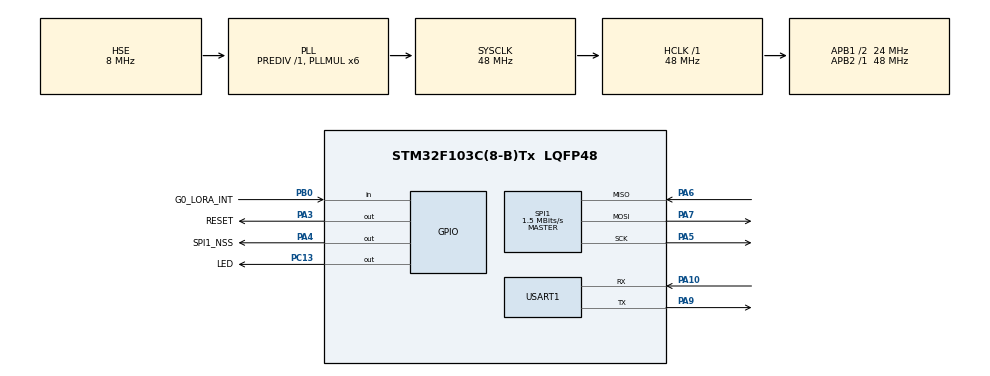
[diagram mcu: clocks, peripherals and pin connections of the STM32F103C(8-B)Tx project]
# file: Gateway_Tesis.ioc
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Mcu.Family=STM32F1
Mcu.Name=STM32F103C(8-B)Tx
Mcu.Package=LQFP48
NVIC.PriorityGroup=NVIC_PRIORITYGROUP_4
PA10.Mode=Asynchronous
PA10.Signal=USART1_RX
PA13.Mode=Serial_Wire
PA13.Signal=SYS_JTMS-SWDIO
PA14.Mode=Serial_Wire
PA14.Signal=SYS_JTCK-SWCLK
PA3.GPIO_Label=RESET
PA3.PinState=GPIO_PIN_SET
PA3.Signal=GPIO_Output
PA4.GPIO_Label=SPI1_NSS
PA4.PinState=GPIO_PIN_SET
PA4.Signal=GPIO_Output
PA5.Mode=Full_Duplex_Master
PA5.Signal=SPI1_SCK
PA6.Mode=Full_Duplex_Master
PA6.Signal=SPI1_MISO
PA7.Mode=Full_Duplex_Master
PA7.Signal=SPI1_MOSI
PA9.Mode=Asynchronous
PA9.Signal=USART1_TX
PB0.GPIO_Label=G0_LORA_INT
PB0.Signal=GPIO_Input
PC13-TAMPER-RTC.GPIO_Label=LED
PC13-TAMPER-RTC.PinState=GPIO_PIN_SET
PC13-TAMPER-RTC.Signal=GPIO_Output
PD0-OSC_IN.Mode=HSE-External-Oscillator
PD0-OSC_IN.Signal=RCC_OSC_IN
PD1-OSC_OUT.Mode=HSE-External-Oscillator
PD1-OSC_OUT.Signal=RCC_OSC_OUT
ProjectManager.HeapSize=0x200
ProjectManager.StackSize=0x400
ProjectManager.TargetToolchain=STM32CubeIDE
RCC.AHBFreq_Value=48000000
RCC.APB1CLKDivider=RCC_HCLK_DIV2
RCC.APB1Freq_Value=24000000
RCC.APB1TimFreq_Value=48000000
RCC.APB2Freq_Value=48000000
RCC.APB2TimFreq_Value=48000000
RCC.HCLKFreq_Value=48000000
RCC.PLLMUL=RCC_PLL_MUL6
RCC.PLLSourceVirtual=RCC_PLLSOURCE_HSE
RCC.SYSCLKFreq_VALUE=48000000
RCC.SYSCLKSource=RCC_SYSCLKSOURCE_PLLCLK
RCC.USBFreq_Value=48000000
SPI1.BaudRatePrescaler=SPI_BAUDRATEPRESCALER_32
SPI1.CalculateBaudRate=1.5 MBits/s
SPI1.Direction=SPI_DIRECTION_2LINES
SPI1.Mode=SPI_MODE_MASTER
SPI1.VirtualType=VM_MASTER
USART1.VirtualMode=VM_ASYNC
board=custom

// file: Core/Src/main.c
/* USER CODE BEGIN Header */
/**
  ******************************************************************************
  * @file           : main.c
  * @brief          : Main program body
  ******************************************************************************
  * @attention
  *
  * Copyright (c) 2022 STMicroelectronics.
  * All rights reserved.
  *
  * This software is licensed under terms that can be found in the LICENSE file
  * in the root directory of this software component.
  * If no LICENSE file comes with this software, it is provided AS-IS.
  *
  ******************************************************************************
  */
/* USER CODE END Header */
#include "main.h"

/* USER CODE BEGIN Includes */
#include <stdbool.h>
#include <string.h>
#include <stdio.h>
#include "rfm95.h"
/* USER CODE END Includes */

SPI_HandleTypeDef hspi1;

UART_HandleTypeDef huart1;

/* USER CODE BEGIN PV */
uint8_t buf[50];
uint8_t uart_buf[50];
uint8_t temp, hum, monoxido_temp1, monoxido_temp2;
uint8_t verificador1, verificador2;
uint16_t CO;
int RSSI = 0;
float SNR = 0;
uint8_t contador = 0;

rfm95_handle_t rfm95_handle = {
    .spi_handle = &hspi1,
    .nss_port = SPI1_NSS_GPIO_Port,
    .nss_pin = SPI1_NSS_Pin,
    .nrst_port = RESET_GPIO_Port,
    .nrst_pin = RESET_Pin,
};
/* USER CODE END PV */

void SystemClock_Config(void);
static void MX_GPIO_Init(void);
static void MX_SPI1_Init(void);
static void MX_USART1_UART_Init(void);
/* USER CODE BEGIN PFP */
void umbral_temperatura(uint8_t temperatura);
void umbral_humedad(uint8_t humedad);
void umbral_monoxido(uint16_t monoxido);
void contador_update(void);
/* USER CODE END PFP */

int main(void)
{

  /* MCU Configuration--------------------------------------------------------*/

  /* Reset of all peripherals, Initializes the Flash interface and the Systick. */
  HAL_Init();

  /* Configure the system clock */
  SystemClock_Config();

  /* Initialize all configured peripherals */
  MX_GPIO_Init();
  MX_SPI1_Init();
  MX_USART1_UART_Init();
  /* USER CODE BEGIN 2 */
  do{
	  //Inicializar modulo LoRa
	  if(rfm95_init(&rfm95_handle)){
		  HAL_GPIO_WritePin(LED_GPIO_Port, LED_Pin, GPIO_PIN_RESET);
		  HAL_GPIO_WritePin(LED_GPIO_Port, LED_Pin, GPIO_PIN_SET);
		  sprintf((char*)uart_buf, "Modulo LoRa Inicializado\n");
		  HAL_UART_Transmit(&huart1, uart_buf, strlen((char*)uart_buf), HAL_MAX_DELAY);
		  verificador1 = 1;
		  verificador2 = 1;
	  }
	  else{
		  rfm95_reset(&rfm95_handle);
	  }
  }
  while(!verificador1);
  /* USER CODE END 2 */

  /* Infinite loop */
  /* USER CODE BEGIN WHILE */
  while (verificador2 == 1)
  {
	  // Recibir los datos por LoRa
	  rfm95_receive_package(&rfm95_handle, &temp, &hum, &monoxido_temp1, &monoxido_temp2, RSSI, SNR);
	  // Validation message
	  CO = (monoxido_temp1 << 8) | monoxido_temp2;
	  sprintf((char*)uart_buf, "Conexion exitosa\n");
	  HAL_UART_Transmit(&huart1, uart_buf, strlen((char*)uart_buf), HAL_MAX_DELAY);

	  //Comparacion de los datos con umbrales
	  umbral_temperatura(temp);
	  umbral_humedad(hum);
	  umbral_monoxido(CO);
	  contador_update();
	  //sprintf((char*)uart_buf, "Temperatura: %u C, Humedad: %u HR, %u PPM \n", temp, hum, CO);
	  //HAL_UART_Transmit(&huart1, uart_buf, strlen((char*)uart_buf), HAL_MAX_DELAY);
	  //sprintf((char*)uart_buf, "SNR: %.2f C, RSSI: %i  \n", SNR, RSSI);
	  //HAL_UART_Transmit(&huart1, uart_buf, strlen((char*)uart_buf), HAL_MAX_DELAY);
	  temp = 0;
	  hum = 0;
	  CO = 0;
	  monoxido_temp1 = 0;
	  monoxido_temp2 = 0;
	  contador = 0;
    /* USER CODE END WHILE */

  }
}

void SystemClock_Config(void)
{
  RCC_OscInitTypeDef RCC_OscInitStruct = {0};
  RCC_ClkInitTypeDef RCC_ClkInitStruct = {0};

  /** Initializes the RCC Oscillators according to the specified parameters
  * in the RCC_OscInitTypeDef structure.
  */
  RCC_OscInitStruct.OscillatorType = RCC_OSCILLATORTYPE_HSE;
  RCC_OscInitStruct.HSEState = RCC_HSE_ON;
  RCC_OscInitStruct.HSEPredivValue = RCC_HSE_PREDIV_DIV1;
  RCC_OscInitStruct.HSIState = RCC_HSI_ON;
  RCC_OscInitStruct.PLL.PLLState = RCC_PLL_ON;
  RCC_OscInitStruct.PLL.PLLSource = RCC_PLLSOURCE_HSE;
  RCC_OscInitStruct.PLL.PLLMUL = RCC_PLL_MUL6;
  if (HAL_RCC_OscConfig(&RCC_OscInitStruct) != HAL_OK)
  {
    Error_Handler();
  }

  /** Initializes the CPU, AHB and APB buses clocks
  */
  RCC_ClkInitStruct.ClockType = RCC_CLOCKTYPE_HCLK|RCC_CLOCKTYPE_SYSCLK
                              |RCC_CLOCKTYPE_PCLK1|RCC_CLOCKTYPE_PCLK2;
  RCC_ClkInitStruct.SYSCLKSource = RCC_SYSCLKSOURCE_PLLCLK;
  RCC_ClkInitStruct.AHBCLKDivider = RCC_SYSCLK_DIV1;
  RCC_ClkInitStruct.APB1CLKDivider = RCC_HCLK_DIV2;
  RCC_ClkInitStruct.APB2CLKDivider = RCC_HCLK_DIV1;

  if (HAL_RCC_ClockConfig(&RCC_ClkInitStruct, FLASH_LATENCY_1) != HAL_OK)
  {
    Error_Handler();
  }
}

static void MX_SPI1_Init(void)
{

  /* SPI1 parameter configuration*/
  hspi1.Instance = SPI1;
  hspi1.Init.Mode = SPI_MODE_MASTER;
  hspi1.Init.Direction = SPI_DIRECTION_2LINES;
  hspi1.Init.DataSize = SPI_DATASIZE_8BIT;
  hspi1.Init.CLKPolarity = SPI_POLARITY_LOW;
  hspi1.Init.CLKPhase = SPI_PHASE_1EDGE;
  hspi1.Init.NSS = SPI_NSS_SOFT;
  hspi1.Init.BaudRatePrescaler = SPI_BAUDRATEPRESCALER_32;
  hspi1.Init.FirstBit = SPI_FIRSTBIT_MSB;
  hspi1.Init.TIMode = SPI_TIMODE_DISABLE;
  hspi1.Init.CRCCalculation = SPI_CRCCALCULATION_DISABLE;
  hspi1.Init.CRCPolynomial = 10;
  if (HAL_SPI_Init(&hspi1) != HAL_OK)
  {
    Error_Handler();
  }

}

static void MX_USART1_UART_Init(void)
{

  huart1.Instance = USART1;
  huart1.Init.BaudRate = 115200;
  huart1.Init.WordLength = UART_WORDLENGTH_8B;
  huart1.Init.StopBits = UART_STOPBITS_1;
  huart1.Init.Parity = UART_PARITY_NONE;
  huart1.Init.Mode = UART_MODE_TX_RX;
  huart1.Init.HwFlowCtl = UART_HWCONTROL_NONE;
  huart1.Init.OverSampling = UART_OVERSAMPLING_16;
  if (HAL_UART_Init(&huart1) != HAL_OK)
  {
    Error_Handler();
  }

}

static void MX_GPIO_Init(void)
{
  GPIO_InitTypeDef GPIO_InitStruct = {0};

  /* GPIO Ports Clock Enable */
  __HAL_RCC_GPIOC_CLK_ENABLE();
  __HAL_RCC_GPIOD_CLK_ENABLE();
  __HAL_RCC_GPIOA_CLK_ENABLE();
  __HAL_RCC_GPIOB_CLK_ENABLE();

  /*Configure GPIO pin Output Level */
  HAL_GPIO_WritePin(LED_GPIO_Port, LED_Pin, GPIO_PIN_SET);

  /*Configure GPIO pin Output Level */
  HAL_GPIO_WritePin(GPIOA, RESET_Pin|SPI1_NSS_Pin, GPIO_PIN_SET);

  /*Configure GPIO pin : LED_Pin */
  GPIO_InitStruct.Pin = LED_Pin;
  GPIO_InitStruct.Mode = GPIO_MODE_OUTPUT_PP;
  GPIO_InitStruct.Pull = GPIO_NOPULL;
  GPIO_InitStruct.Speed = GPIO_SPEED_FREQ_LOW;
  HAL_GPIO_Init(LED_GPIO_Port, &GPIO_InitStruct);

  /*Configure GPIO pins : RESET_Pin SPI1_NSS_Pin */
  GPIO_InitStruct.Pin = RESET_Pin|SPI1_NSS_Pin;
  GPIO_InitStruct.Mode = GPIO_MODE_OUTPUT_PP;
  GPIO_InitStruct.Pull = GPIO_NOPULL;
  GPIO_InitStruct.Speed = GPIO_SPEED_FREQ_LOW;
  HAL_GPIO_Init(GPIOA, &GPIO_InitStruct);

  /*Configure GPIO pin : G0_LORA_INT_Pin */
  GPIO_InitStruct.Pin = G0_LORA_INT_Pin;
  GPIO_InitStruct.Mode = GPIO_MODE_INPUT;
  GPIO_InitStruct.Pull = GPIO_NOPULL;
  HAL_GPIO_Init(G0_LORA_INT_GPIO_Port, &GPIO_InitStruct);

}

/* USER CODE BEGIN 4 */
void umbral_temperatura(uint8_t temperatura){
	//Comparacion temperatura
	if(37 < temperatura && temperatura < 80){
		sprintf((char*)uart_buf, "Atencion!! Temperatura muy Alta\n");
		HAL_UART_Transmit(&huart1, uart_buf, strlen((char*)uart_buf), HAL_MAX_DELAY);
		contador++;
	}
	else if(temperatura < 10 || temperatura > 80){
		sprintf((char*)uart_buf, "Atencion!! Valor erroneo de temperatura\n");
		HAL_UART_Transmit(&huart1, uart_buf, strlen((char*)uart_buf), HAL_MAX_DELAY);
	}

	else if(10 < temperatura && temperatura < 37){
		sprintf((char*)uart_buf, "Valores normales de temperatura\n");
		HAL_UART_Transmit(&huart1, uart_buf, strlen((char*)uart_buf), HAL_MAX_DELAY);
	}
	sprintf((char*)uart_buf, "Temperatura = %u C\n", temperatura);
	HAL_UART_Transmit(&huart1, uart_buf, strlen((char*)uart_buf), HAL_MAX_DELAY);
}

void umbral_humedad(uint8_t humedad){
	if(5 < humedad && humedad < 20){
		sprintf((char*)uart_buf, "Atencion!! Humedad muy baja\n");
		HAL_UART_Transmit(&huart1, uart_buf, strlen((char*)uart_buf), HAL_MAX_DELAY);
		contador++;
	}
	else if(humedad < 5 || humedad > 95){
		sprintf((char*)uart_buf, "Atencion!! Valor erroneo de humedad\n");
		HAL_UART_Transmit(&huart1, uart_buf, strlen((char*)uart_buf), HAL_MAX_DELAY);
	}
	else if(20 < humedad && humedad < 95){
		sprintf((char*)uart_buf, "Valores normales de humedad\n");
		HAL_UART_Transmit(&huart1, uart_buf, strlen((char*)uart_buf), HAL_MAX_DELAY);
	}
	sprintf((char*)uart_buf, "Humedad = %u HR\n", humedad);
	HAL_UART_Transmit(&huart1, uart_buf, strlen((char*)uart_buf), HAL_MAX_DELAY);
}

void umbral_monoxido(uint16_t monoxido){
	if(800 < monoxido && monoxido < 7000){
		sprintf((char*)uart_buf, "Atencion!! Valores de CO muy altos\n");
		HAL_UART_Transmit(&huart1, uart_buf, strlen((char*)uart_buf), HAL_MAX_DELAY);
		contador += 2;
	}
	else if(monoxido > 7000){
		sprintf((char*)uart_buf, "Atencion!! Valor erroneos de CO\n");
		HAL_UART_Transmit(&huart1, uart_buf, strlen((char*)uart_buf), HAL_MAX_DELAY);
	}
	else if(0 <= monoxido && monoxido < 800){
		sprintf((char*)uart_buf, "Valores normales de CO\n");
		HAL_UART_Transmit(&huart1, uart_buf, strlen((char*)uart_buf), HAL_MAX_DELAY);
	}
	sprintf((char*)uart_buf, "CO = %u PPM\n", monoxido);
	HAL_UART_Transmit(&huart1, uart_buf, strlen((char*)uart_buf), HAL_MAX_DELAY);
}

void contador_update(void){
	switch(contador){
	case 1:
		sprintf((char*)uart_buf, "Existe un bajo riesgo de incendio\n");
		HAL_UART_Transmit(&huart1, uart_buf, strlen((char*)uart_buf), HAL_MAX_DELAY);
		break;
	case 2:
		sprintf((char*)uart_buf, "Alerta! Existe un riesgo medio de incendio.\n");
		HAL_UART_Transmit(&huart1, uart_buf, strlen((char*)uart_buf), HAL_MAX_DELAY);
		break;
	case 4:
		sprintf((char*)uart_buf, "Alerta!! Existe un alto riesgo de incendio.\n");
		HAL_UART_Transmit(&huart1, uart_buf, strlen((char*)uart_buf), HAL_MAX_DELAY);
		break;
	default:
		sprintf((char*)uart_buf, "No existe riesgo de incendio.\n");
		HAL_UART_Transmit(&huart1, uart_buf, strlen((char*)uart_buf), HAL_MAX_DELAY);
	}
}
/* USER CODE END 4 */

void Error_Handler(void)
{
  __disable_irq();
  while (1)
  {
  }
}
